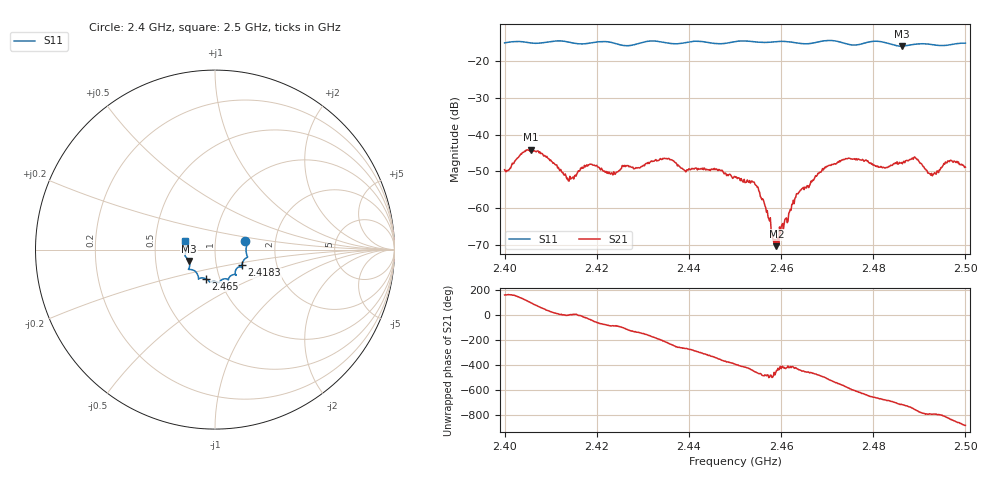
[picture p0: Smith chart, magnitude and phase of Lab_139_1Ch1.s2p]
# Hz S RI R 50
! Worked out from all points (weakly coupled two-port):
!   601 points, 2.4 GHz to 2.5 GHz, reference 50 ohm
!   highest |S21| = -44.09 dB at 2.4057 GHz (marker M1); lowest = -70.3 dB at 2.459 GHz (marker M2)
!   lowest |S11| = -16.0 dB at 2.4862 GHz (marker M3), VSWR 1.38, Z = 37.1 - j4.83 ohm
!   |S11| at or under -10 dB: start of sweep to end of sweep
!   S12 and S22 are empty: the file has one direction only
!   S11 on the Smith chart (normalised r, x): 2.4 GHz: 1.40, +0.13; 2.4183 GHz: 1.33, -0.24; 2.465 GHz: 0.86, -0.29; 2.5 GHz: 0.71, +0.07
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2.4e9  0.1688 0.046  -0.00308 0.00128  0 0  0 0
2.405667e9  0.1743 0.0123  -0.000526 0.00623  0 0  0 0
2.409167e9  0.177 -0.0288  0.00412 0.00293  0 0  0 0
2.414e9  0.1726 -0.0471  0.00233 -0.000142  0 0  0 0
2.416667e9  0.155 -0.0682  0.00339 -0.000674  0 0  0 0
2.418333e9  0.15 -0.087  0.00312 -0.00234  0 0  0 0
2.4235e9  0.1461 -0.097  0.000106 -0.00283  0 0  0 0
2.433333e9  0.1167 -0.1412  -0.0043 0.00108  0 0  0 0
2.45e9  0.0252 -0.1805  0.00217 -0.00159  0 0  0 0
2.4545e9  0.011 -0.1799  -0.000281 -0.00204  0 0  0 0
2.459e9  -0.024 -0.1805  1.31e-05 -0.000306  0 0  0 0
2.463e9  -0.0362 -0.1724  0.000479 -0.00128  0 0  0 0
2.465e9  -0.0526 -0.162  -0.000128 -0.00179  0 0  0 0
2.466667e9  -0.0711 -0.1577  -0.000574 -0.00222  0 0  0 0
2.469833e9  -0.0918 -0.1642  -0.00317 -0.00191  0 0  0 0
2.474333e9  -0.0974 -0.1381  -0.00348 0.00315  0 0  0 0
2.483333e9  -0.142 -0.0959  0.0031 0.002  0 0  0 0
2.486167e9  -0.1447 -0.0635  0.00417 0.000155  0 0  0 0
2.489333e9  -0.164 -0.0391  0.00331 -0.00338  0 0  0 0
2.492667e9  -0.1648 -0.0224  0.00065 -0.00291  0 0  0 0
2.496667e9  -0.1633 0.0238  -0.00185 -0.00403  0 0  0 0
2.5e9  -0.1669 0.0472  -0.00352 -0.000838  0 0  0 0
